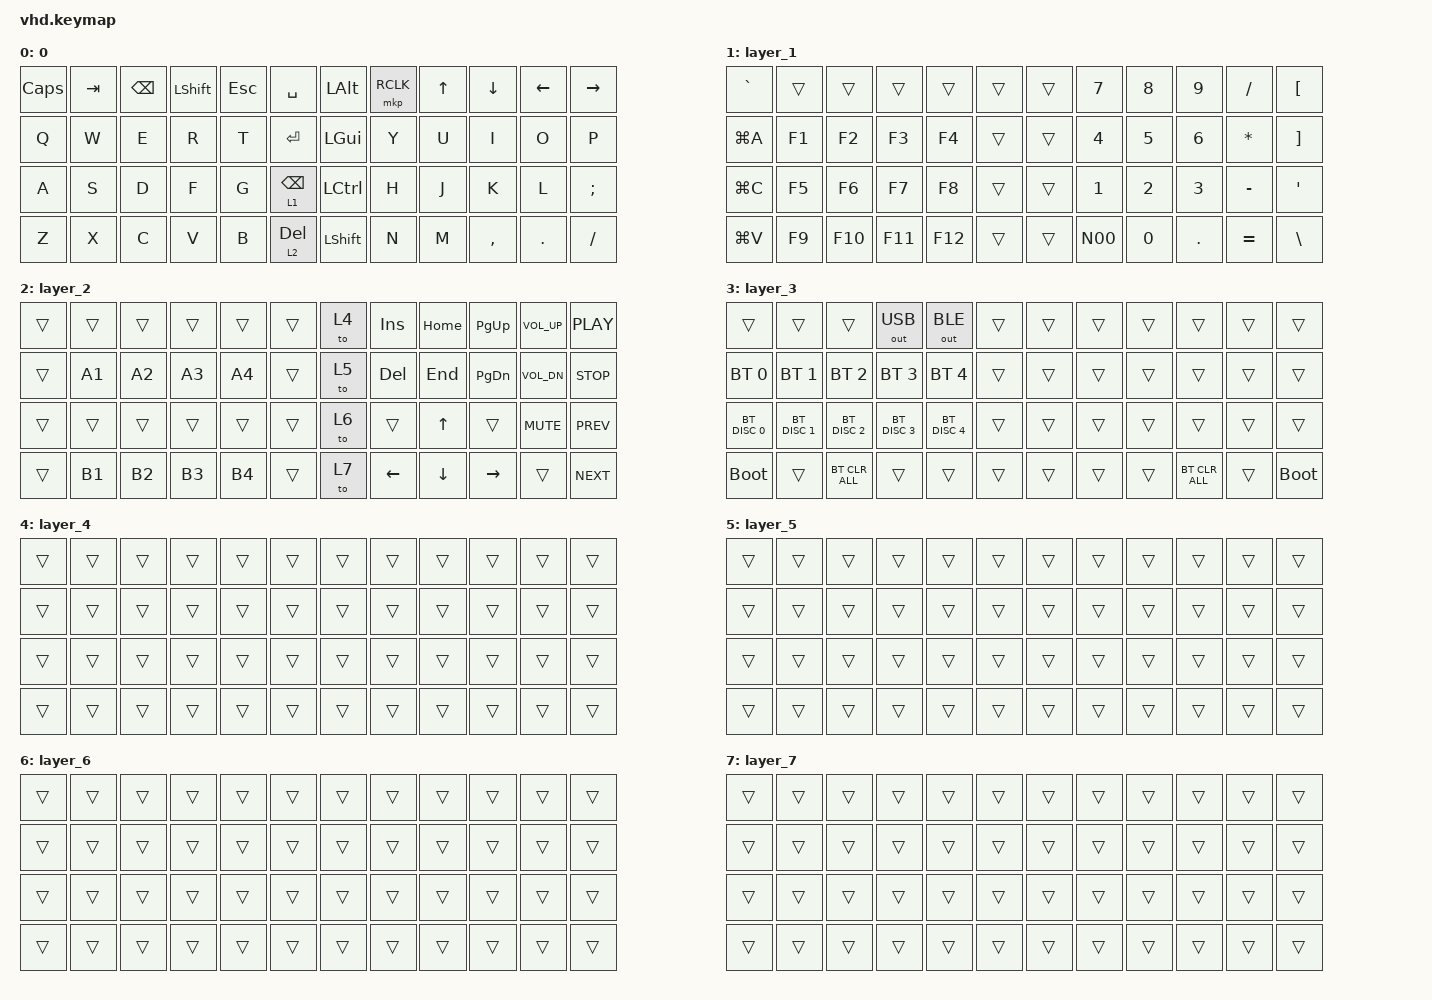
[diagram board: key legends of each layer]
/*
* Copyright (c) 2025 VEXC HOW DESIGN
* Copyright (c) 2020 The ZMK Contributors
*
* SPDX-License-Identifier: MIT
*/
/* THIS FILE WAS GENERATED!
*
* This file was generated automatically. You may or may not want to
* edit it directly.
*/

#include <dt-bindings/zmk/mouse.h>
#include <behaviors.dtsi>
#include <dt-bindings/zmk/bt.h>
#include <dt-bindings/zmk/keys.h>
#include <dt-bindings/zmk/outputs.h>
#include <dt-bindings/zmk/pointing.h>

/ {
    macros {
        N00: N00 {
            compatible = "zmk,behavior-macro";
            #binding-cells = <0>;
            bindings = <&kp N0 &kp N0>;
            label = "N00";
        };

        A1: A1 {
            compatible = "zmk,behavior-macro";
            #binding-cells = <0>;
            bindings = <&kp NUMBER_1 &kp ENTER>;
            label = "A1";
        };

        A2: A2 {
            compatible = "zmk,behavior-macro";
            #binding-cells = <0>;
            bindings = <&kp NUMBER_2 &kp ENTER>;
            label = "A2";
        };

        A3: A3 {
            compatible = "zmk,behavior-macro";
            #binding-cells = <0>;
            bindings = <&kp NUMBER_3 &kp ENTER>;
            label = "A3";
        };

        A4: A4 {
            compatible = "zmk,behavior-macro";
            #binding-cells = <0>;
            bindings = <&kp NUMBER_4 &kp ENTER>;
            label = "A4";
        };

        B1: B1 {
            compatible = "zmk,behavior-macro";
            #binding-cells = <0>;
            bindings = <&kp E &kp G &kp COLON &kp SPACE &kp Y &kp O &kp U &kp R &kp SPACE &kp N &kp A &kp M &kp E>;
            label = "B1";
        };

        B2: B2 {
            compatible = "zmk,behavior-macro";
            #binding-cells = <0>;
            bindings = <&kp E &kp G &kp COLON &kp SPACE &kp Y &kp O &kp U &kp R &kp SPACE &kp P &kp H &kp O &kp N &kp E &kp SPACE &kp N &kp U &kp M &kp B &kp E &kp R>;
            label = "B2";
        };

        B3: B3 {
            compatible = "zmk,behavior-macro";
            #binding-cells = <0>;
            bindings = <&kp E &kp G &kp COLON &kp SPACE &kp Y &kp O &kp U &kp R &kp SPACE &kp E &kp M &kp A &kp I &kp L>;
            label = "B3";
        };

        B4: B4 {
            compatible = "zmk,behavior-macro";
            #binding-cells = <0>;
            bindings = <&kp E &kp G &kp COLON &kp SPACE &kp Y &kp O &kp U &kp R &kp SPACE &kp A &kp D &kp D &kp R &kp E &kp S &kp S>;
            label = "B4";
        };
    };

    behaviors {
        TD1: TD1 {
            compatible = "zmk,behavior-tap-dance";
            label = "TD1";
            #binding-cells = <0>;
            bindings = <&mt LEFT_SHIFT T>, <&kp LG(C)>;
        };
    };

    combos { compatible = "zmk,combos"; };

    keymap {
        compatible = "zmk,keymap";

        default_layer {
            display-name = "0";
            bindings = <
&kp CAPS  &kp TAB  &kp BACKSPACE  &kp LEFT_SHIFT  &kp ESCAPE  &kp SPACE        &kp LEFT_ALT    &mkp RCLK  &kp UP_ARROW  &kp DOWN_ARROW  &kp LEFT_ARROW  &kp RIGHT_ARROW
&kp Q     &kp W    &kp E          &kp R           &kp T       &kp ENTER        &kp LEFT_GUI    &kp Y      &kp U         &kp I           &kp O           &kp P
&kp A     &kp S    &kp D          &kp F           &kp G       &lt 1 BACKSPACE  &kp LCTRL       &kp H      &kp J         &kp K           &kp L           &kp SEMI
&kp Z     &kp X    &kp C          &kp V           &kp B       &lt 2 DELETE     &kp LEFT_SHIFT  &kp N      &kp M         &kp COMMA       &kp DOT         &kp FSLH
            >;
        };

        layer_1 {
            bindings = <
&kp GRAVE  &trans  &trans   &trans   &trans   &trans  &trans  &kp N7  &kp N8  &kp N9   &kp SLASH  &kp LEFT_BRACKET
&kp LG(A)  &kp F1  &kp F2   &kp F3   &kp F4   &trans  &trans  &kp N4  &kp N5  &kp N6   &kp STAR   &kp RIGHT_BRACKET
&kp LG(C)  &kp F5  &kp F6   &kp F7   &kp F8   &trans  &trans  &kp N1  &kp N2  &kp N3   &kp MINUS  &kp SQT
&kp LG(V)  &kp F9  &kp F10  &kp F11  &kp F12  &trans  &trans  &N00    &kp N0  &kp DOT  &kp EQUAL  &kp BACKSLASH
            >;
        };

        layer_2 {
            bindings = <
&trans  &trans  &trans  &trans  &trans  &trans  &to 4  &kp INSERT      &kp HOME        &kp PAGE_UP      &kp C_VOLUME_UP  &kp C_PLAY
&trans  &A1     &A2     &A3     &A4     &trans  &to 5  &kp DELETE      &kp END         &kp PAGE_DOWN    &kp C_VOL_DN     &kp K_STOP
&trans  &trans  &trans  &trans  &trans  &trans  &to 6  &trans          &kp UP_ARROW    &trans           &kp K_MUTE       &kp K_PREV
&trans  &B1     &B2     &B3     &B4     &trans  &to 7  &kp LEFT_ARROW  &kp DOWN_ARROW  &kp RIGHT_ARROW  &trans           &kp K_NEXT
            >;
        };

        layer_3 {
            bindings = <
&trans         &trans         &trans          &out OUT_USB   &out OUT_BLE   &trans  &trans  &trans  &trans  &trans          &trans  &trans
&bt BT_SEL 0   &bt BT_SEL 1   &bt BT_SEL 2    &bt BT_SEL 3   &bt BT_SEL 4   &trans  &trans  &trans  &trans  &trans          &trans  &trans
&bt BT_DISC 0  &bt BT_DISC 1  &bt BT_DISC 2   &bt BT_DISC 3  &bt BT_DISC 4  &trans  &trans  &trans  &trans  &trans          &trans  &trans
&bootloader    &trans         &bt BT_CLR_ALL  &trans         &trans         &trans  &trans  &trans  &trans  &bt BT_CLR_ALL  &trans  &bootloader
            >;
        };

        layer_4 {
            bindings = <
&trans  &trans  &trans  &trans  &trans  &trans  &trans  &trans  &trans  &trans  &trans  &trans
&trans  &trans  &trans  &trans  &trans  &trans  &trans  &trans  &trans  &trans  &trans  &trans
&trans  &trans  &trans  &trans  &trans  &trans  &trans  &trans  &trans  &trans  &trans  &trans
&trans  &trans  &trans  &trans  &trans  &trans  &trans  &trans  &trans  &trans  &trans  &trans
            >;
        };

        layer_5 {
            bindings = <
&trans  &trans  &trans  &trans  &trans  &trans  &trans  &trans  &trans  &trans  &trans  &trans
&trans  &trans  &trans  &trans  &trans  &trans  &trans  &trans  &trans  &trans  &trans  &trans
&trans  &trans  &trans  &trans  &trans  &trans  &trans  &trans  &trans  &trans  &trans  &trans
&trans  &trans  &trans  &trans  &trans  &trans  &trans  &trans  &trans  &trans  &trans  &trans
            >;
        };

        layer_6 {
            bindings = <
&trans  &trans  &trans  &trans  &trans  &trans  &trans  &trans  &trans  &trans  &trans  &trans
&trans  &trans  &trans  &trans  &trans  &trans  &trans  &trans  &trans  &trans  &trans  &trans
&trans  &trans  &trans  &trans  &trans  &trans  &trans  &trans  &trans  &trans  &trans  &trans
&trans  &trans  &trans  &trans  &trans  &trans  &trans  &trans  &trans  &trans  &trans  &trans
            >;
        };

        layer_7 {
            bindings = <
&trans  &trans  &trans  &trans  &trans  &trans  &trans  &trans  &trans  &trans  &trans  &trans
&trans  &trans  &trans  &trans  &trans  &trans  &trans  &trans  &trans  &trans  &trans  &trans
&trans  &trans  &trans  &trans  &trans  &trans  &trans  &trans  &trans  &trans  &trans  &trans
&trans  &trans  &trans  &trans  &trans  &trans  &trans  &trans  &trans  &trans  &trans  &trans
            >;
        };
    };

    conditional_layers {
        compatible = "zmk,conditional-layers";

        Adjust {
            if-layers = <1 2>;
            then-layer = <3>;
        };
    };
};
